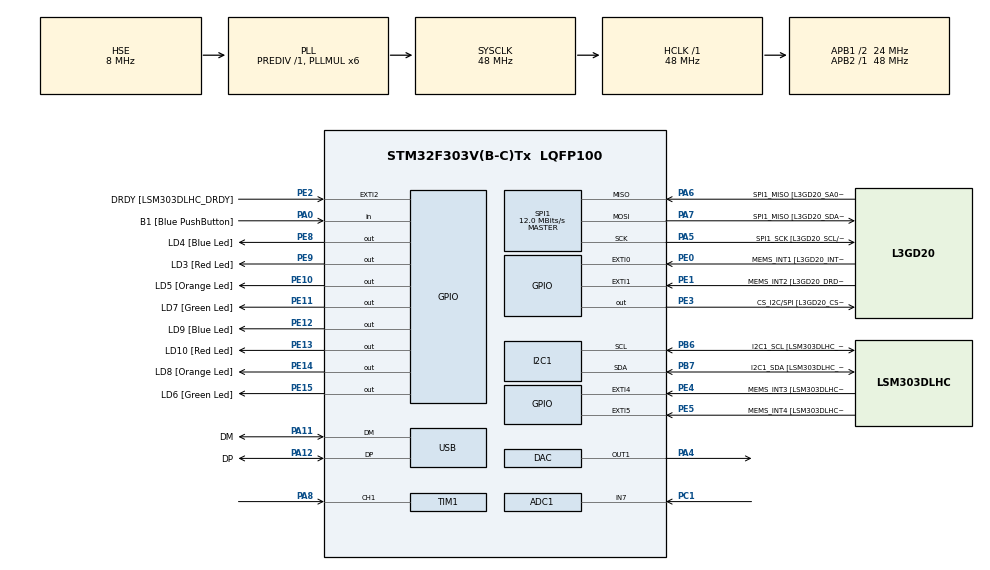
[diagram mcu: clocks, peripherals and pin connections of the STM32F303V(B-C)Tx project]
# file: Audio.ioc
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ADC1.Channel-4\#ChannelRegularConversion=ADC_CHANNEL_7
ADC1.ContinuousConvMode=ENABLE
ADC1.NbrOfConversionFlag=1
ADC1.Offset-4\#ChannelRegularConversion=0
ADC1.OffsetNumber-4\#ChannelRegularConversion=ADC_OFFSET_NONE
ADC1.Rank-4\#ChannelRegularConversion=1
ADC1.SamplingTime-4\#ChannelRegularConversion=ADC_SAMPLETIME_19CYCLES_5
ADC1.master=1
I2C1.Timing-I2C=0x2000090E
Mcu.Family=STM32F3
Mcu.Name=STM32F303V(B-C)Tx
Mcu.Package=LQFP100
NVIC.ADC1_2_IRQn=true\:0\:0\:false\:false\:true\:true\:true
NVIC.PriorityGroup=NVIC_PRIORITYGROUP_0
PA0.GPIO_Label=B1 [Blue PushButton]
PA0.Signal=GPIO_Input
PA11.GPIO_Label=DM
PA11.Mode=Device
PA11.Signal=USB_DM
PA12.GPIO_Label=DP
PA12.Mode=Device
PA12.Signal=USB_DP
PA13.GPIO_Label=SWDIO
PA13.Mode=Serial_Wire
PA13.Signal=SYS_JTMS-SWDIO
PA14.GPIO_Label=SWCLK
PA14.Mode=Serial_Wire
PA14.Signal=SYS_JTCK-SWCLK
PA4.Signal=COMP_DAC1_group
PA5.GPIO_Label=SPI1_SCK [L3GD20_SCL/SPC]
PA5.Mode=Full_Duplex_Master
PA5.Signal=SPI1_SCK
PA6.GPIO_Label=SPI1_MISO [L3GD20_SA0/SDO]
PA6.Mode=Full_Duplex_Master
PA6.Signal=SPI1_MISO
PA7.GPIO_Label=SPI1_MISO [L3GD20_SDA/SDI/SDO]
PA7.Mode=Full_Duplex_Master
PA7.Signal=SPI1_MOSI
PA8.Signal=S_TIM1_CH1
PB3.GPIO_Label=SWO
PB3.Signal=SYS_JTDO-TRACESWO
PB6.GPIO_Label=I2C1_SCL [LSM303DLHC_SCL]
PB6.Mode=I2C
PB6.Signal=I2C1_SCL
PB7.GPIO_Label=I2C1_SDA [LSM303DLHC_SDA]
PB7.Mode=I2C
PB7.Signal=I2C1_SDA
PC1.Signal=ADCx_IN7
PC14-OSC32_IN.GPIO_Label=OSC32_IN
PC14-OSC32_IN.Signal=RCC_OSC32_IN
PC15-OSC32_OUT.GPIO_Label=OSC32_OUT
PC15-OSC32_OUT.Signal=RCC_OSC32_OUT
PE0.GPIO_Label=MEMS_INT1 [L3GD20_INT1]
PE0.GPIO_ModeDefaultEXTI=GPIO_MODE_EVT_RISING
PE0.Signal=GPXTI0
PE1.GPIO_Label=MEMS_INT2 [L3GD20_DRDY/INT2]
PE1.GPIO_ModeDefaultEXTI=GPIO_MODE_EVT_RISING
PE1.Signal=GPXTI1
PE10.GPIO_Label=LD5 [Orange Led]
PE10.Signal=GPIO_Output
PE11.GPIO_Label=LD7 [Green Led]
PE11.Signal=GPIO_Output
PE12.GPIO_Label=LD9 [Blue Led]
PE12.Signal=GPIO_Output
PE13.GPIO_Label=LD10 [Red Led]
PE13.Signal=GPIO_Output
PE14.GPIO_Label=LD8 [Orange Led]
PE14.Signal=GPIO_Output
PE15.GPIO_Label=LD6 [Green Led]
PE15.Signal=GPIO_Output
PE2.GPIO_Label=DRDY [LSM303DLHC_DRDY]
PE2.GPIO_ModeDefaultEXTI=GPIO_MODE_EVT_RISING
PE2.Signal=GPXTI2
PE3.GPIO_Label=CS_I2C/SPI [L3GD20_CS_I2C/SPI]
PE3.Signal=GPIO_Output
PE4.GPIO_Label=MEMS_INT3 [LSM303DLHC_INT1]
PE4.GPIO_ModeDefaultEXTI=GPIO_MODE_EVT_RISING
PE4.Signal=GPXTI4
PE5.GPIO_Label=MEMS_INT4 [LSM303DLHC_INT2]
PE5.GPIO_ModeDefaultEXTI=GPIO_MODE_EVT_RISING
PE5.Signal=GPXTI5
PE8.GPIO_Label=LD4 [Blue Led]
PE8.Signal=GPIO_Output
PE9.GPIO_Label=LD3 [Red Led]
PE9.Signal=GPIO_Output
PF0-OSC_IN.GPIO_Label=OSC_IN
PF0-OSC_IN.Mode=HSE-External-Clock-Source
PF0-OSC_IN.Signal=RCC_OSC_IN
PF1-OSC_OUT.GPIO_Label=OSC_OUT
PF1-OSC_OUT.Signal=RCC_OSC_OUT
ProjectManager.HeapSize=0x200
ProjectManager.StackSize=0x400
ProjectManager.TargetToolchain=MDK-ARM V5
RCC.AHBFreq_Value=48000000
RCC.APB1CLKDivider=RCC_HCLK_DIV2
RCC.APB1Freq_Value=24000000
RCC.APB1TimFreq_Value=48000000
RCC.APB2Freq_Value=48000000
RCC.APB2TimFreq_Value=48000000
RCC.CortexFreq_Value=48000000
RCC.HCLKFreq_Value=48000000
RCC.HSE_VALUE=8000000
RCC.HSI_VALUE=8000000
RCC.LSE_VALUE=32768
RCC.PLLMUL=RCC_PLL_MUL6
RCC.SYSCLKFreq_VALUE=48000000
RCC.SYSCLKSourceVirtual=RCC_SYSCLKSOURCE_PLLCLK
RCC.USBFreq_Value=48000000
SH.ADCx_IN7.0=ADC1_IN7,IN7-Single-Ended
SH.COMP_DAC1_group.0=DAC_OUT1,DAC_OUT1
SH.S_TIM1_CH1.0=TIM1_CH1,Input_Capture1_from_TI1
SPI1.BaudRatePrescaler=SPI_BAUDRATEPRESCALER_4
SPI1.BaudRatePrescaler-Full_Duplex_Master=SPI_BAUDRATEPRESCALER_2
SPI1.CalculateBaudRate=12.0 MBits/s
SPI1.CalculateBaudRate-Full_Duplex_Master=24.0 MBits/s
SPI1.Direction=SPI_DIRECTION_2LINES
SPI1.Mode=SPI_MODE_MASTER
SPI1.Mode-Full_Duplex_Master=SPI_MODE_MASTER
SPI1.VirtualType=VM_MASTER
TIM1.Channel-Input_Capture1_from_TI1=TIM_CHANNEL_1
board=STM32F3DISCOVERY

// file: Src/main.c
/* USER CODE BEGIN Header */
/**
  ******************************************************************************
  * @file           : main.c
  * @brief          : Main program body
  ******************************************************************************
  * @attention
  *
  * <h2><center>&copy; Copyright (c) 2019 STMicroelectronics.
  * All rights reserved.</center></h2>
  *
  * This software component is licensed by ST under BSD 3-Clause license,
  * the "License"; You may not use this file except in compliance with the
  * License. You may obtain a copy of the License at:
  *                        opensource.org/licenses/BSD-3-Clause
  *
  ******************************************************************************
  */
/* USER CODE END Header */

#include "main.h"

ADC_HandleTypeDef hadc1;

DAC_HandleTypeDef hdac;

I2C_HandleTypeDef hi2c1;

SPI_HandleTypeDef hspi1;

TIM_HandleTypeDef htim1;

PCD_HandleTypeDef hpcd_USB_FS;

/* USER CODE BEGIN PV */
uint32_t uhADCxConvertedValue = 0;
uint32_t DacValue = 0;
/* USER CODE END PV */

void SystemClock_Config(void);
static void MX_GPIO_Init(void);
static void MX_I2C1_Init(void);
static void MX_SPI1_Init(void);
static void MX_USB_PCD_Init(void);
static void MX_ADC1_Init(void);
static void MX_TIM1_Init(void);
static void MX_DAC_Init(void);

int main(void)
{

  /* MCU Configuration--------------------------------------------------------*/

  /* Reset of all peripherals, Initializes the Flash interface and the Systick. */
  HAL_Init();

  /* Configure the system clock */
  SystemClock_Config();

  /* Initialize all configured peripherals */
  MX_GPIO_Init();
  MX_I2C1_Init();
  MX_SPI1_Init();
  MX_USB_PCD_Init();
  MX_ADC1_Init();
  MX_TIM1_Init();
  MX_DAC_Init();
  /* USER CODE BEGIN 2 */

	/* Run the ADC calibration in single-ended mode */
  if (HAL_ADCEx_Calibration_Start(&hadc1, ADC_SINGLE_ENDED) != HAL_OK)
  {
    /* Calibration Error */
    Error_Handler();
  }

  /*##-4- Start the conversion process and enable interrupt ##################*/

  if (HAL_ADC_Start_IT(&hadc1) != HAL_OK)
  {
    /* Start Conversation Error */
    Error_Handler();
  }
	if (HAL_DAC_Start_DMA(&hdac,DAC_CHANNEL_1,(uint32_t*)uhADCxConvertedValue,32,DAC_ALIGN_12B_R) != HAL_OK)
  {
    /* Start Conversation Error */
    Error_Handler();
  }

	/*##-3- TIM counter enable ################################################*/
  if (HAL_TIM_Base_Start(&htim1) != HAL_OK)
  {
    /* Counter Enable Error */
    Error_Handler();
  }

  /* USER CODE END 2 */

  /* Infinite loop */
  while (1)
  {

  }
}

void SystemClock_Config(void)
{
  RCC_OscInitTypeDef RCC_OscInitStruct = {0};
  RCC_ClkInitTypeDef RCC_ClkInitStruct = {0};
  RCC_PeriphCLKInitTypeDef PeriphClkInit = {0};

  /** Initializes the CPU, AHB and APB busses clocks
  */
  RCC_OscInitStruct.OscillatorType = RCC_OSCILLATORTYPE_HSI|RCC_OSCILLATORTYPE_HSE;
  RCC_OscInitStruct.HSEState = RCC_HSE_BYPASS;
  RCC_OscInitStruct.HSEPredivValue = RCC_HSE_PREDIV_DIV1;
  RCC_OscInitStruct.HSIState = RCC_HSI_ON;
  RCC_OscInitStruct.HSICalibrationValue = RCC_HSICALIBRATION_DEFAULT;
  RCC_OscInitStruct.PLL.PLLState = RCC_PLL_ON;
  RCC_OscInitStruct.PLL.PLLSource = RCC_PLLSOURCE_HSE;
  RCC_OscInitStruct.PLL.PLLMUL = RCC_PLL_MUL6;
  if (HAL_RCC_OscConfig(&RCC_OscInitStruct) != HAL_OK)
  {
    Error_Handler();
  }
  /** Initializes the CPU, AHB and APB busses clocks
  */
  RCC_ClkInitStruct.ClockType = RCC_CLOCKTYPE_HCLK|RCC_CLOCKTYPE_SYSCLK
                              |RCC_CLOCKTYPE_PCLK1|RCC_CLOCKTYPE_PCLK2;
  RCC_ClkInitStruct.SYSCLKSource = RCC_SYSCLKSOURCE_PLLCLK;
  RCC_ClkInitStruct.AHBCLKDivider = RCC_SYSCLK_DIV1;
  RCC_ClkInitStruct.APB1CLKDivider = RCC_HCLK_DIV2;
  RCC_ClkInitStruct.APB2CLKDivider = RCC_HCLK_DIV1;

  if (HAL_RCC_ClockConfig(&RCC_ClkInitStruct, FLASH_LATENCY_1) != HAL_OK)
  {
    Error_Handler();
  }
  PeriphClkInit.PeriphClockSelection = RCC_PERIPHCLK_USB|RCC_PERIPHCLK_I2C1
                              |RCC_PERIPHCLK_TIM1|RCC_PERIPHCLK_ADC12;
  PeriphClkInit.Adc12ClockSelection = RCC_ADC12PLLCLK_DIV1;
  PeriphClkInit.I2c1ClockSelection = RCC_I2C1CLKSOURCE_HSI;
  PeriphClkInit.USBClockSelection = RCC_USBCLKSOURCE_PLL;
  PeriphClkInit.Tim1ClockSelection = RCC_TIM1CLK_HCLK;
  if (HAL_RCCEx_PeriphCLKConfig(&PeriphClkInit) != HAL_OK)
  {
    Error_Handler();
  }
}

static void MX_ADC1_Init(void)
{

  ADC_MultiModeTypeDef multimode = {0};
  ADC_ChannelConfTypeDef sConfig = {0};

  /** Common config
  */
  hadc1.Instance = ADC1;
  hadc1.Init.ClockPrescaler = ADC_CLOCK_ASYNC_DIV1;
  hadc1.Init.Resolution = ADC_RESOLUTION_12B;
  hadc1.Init.ScanConvMode = ADC_SCAN_DISABLE;
  hadc1.Init.ContinuousConvMode = ENABLE;
  hadc1.Init.DiscontinuousConvMode = DISABLE;
  hadc1.Init.ExternalTrigConvEdge = ADC_EXTERNALTRIGCONVEDGE_NONE;
  hadc1.Init.ExternalTrigConv = ADC_SOFTWARE_START;
  hadc1.Init.DataAlign = ADC_DATAALIGN_RIGHT;
  hadc1.Init.NbrOfConversion = 1;
  hadc1.Init.DMAContinuousRequests = DISABLE;
  hadc1.Init.EOCSelection = ADC_EOC_SINGLE_CONV;
  hadc1.Init.LowPowerAutoWait = DISABLE;
  hadc1.Init.Overrun = ADC_OVR_DATA_OVERWRITTEN;
  if (HAL_ADC_Init(&hadc1) != HAL_OK)
  {
    Error_Handler();
  }
  /** Configure the ADC multi-mode
  */
  multimode.Mode = ADC_MODE_INDEPENDENT;
  if (HAL_ADCEx_MultiModeConfigChannel(&hadc1, &multimode) != HAL_OK)
  {
    Error_Handler();
  }
  /** Configure Regular Channel
  */
  sConfig.Channel = ADC_CHANNEL_7;
  sConfig.Rank = ADC_REGULAR_RANK_1;
  sConfig.SingleDiff = ADC_SINGLE_ENDED;
  sConfig.SamplingTime = ADC_SAMPLETIME_19CYCLES_5;
  sConfig.OffsetNumber = ADC_OFFSET_NONE;
  sConfig.Offset = 0;
  if (HAL_ADC_ConfigChannel(&hadc1, &sConfig) != HAL_OK)
  {
    Error_Handler();
  }

}

static void MX_DAC_Init(void)
{

  DAC_ChannelConfTypeDef sConfig = {0};

  /** DAC Initialization
  */
  hdac.Instance = DAC;
  if (HAL_DAC_Init(&hdac) != HAL_OK)
  {
    Error_Handler();
  }
  /** DAC channel OUT1 config
  */
  sConfig.DAC_Trigger = DAC_TRIGGER_NONE;
  sConfig.DAC_OutputBuffer = DAC_OUTPUTBUFFER_ENABLE;
  if (HAL_DAC_ConfigChannel(&hdac, &sConfig, DAC_CHANNEL_1) != HAL_OK)
  {
    Error_Handler();
  }
  /* USER CODE BEGIN DAC_Init 2 */
	if (HAL_DAC_SetValue(&hdac, DAC_CHANNEL_1, DAC_ALIGN_12B_R,uhADCxConvertedValue) != HAL_OK)
  {
    Error_Handler();
  }
  /* USER CODE END DAC_Init 2 */

}

static void MX_I2C1_Init(void)
{

  hi2c1.Instance = I2C1;
  hi2c1.Init.Timing = 0x2000090E;
  hi2c1.Init.OwnAddress1 = 0;
  hi2c1.Init.AddressingMode = I2C_ADDRESSINGMODE_7BIT;
  hi2c1.Init.DualAddressMode = I2C_DUALADDRESS_DISABLE;
  hi2c1.Init.OwnAddress2 = 0;
  hi2c1.Init.OwnAddress2Masks = I2C_OA2_NOMASK;
  hi2c1.Init.GeneralCallMode = I2C_GENERALCALL_DISABLE;
  hi2c1.Init.NoStretchMode = I2C_NOSTRETCH_DISABLE;
  if (HAL_I2C_Init(&hi2c1) != HAL_OK)
  {
    Error_Handler();
  }
  /** Configure Analogue filter
  */
  if (HAL_I2CEx_ConfigAnalogFilter(&hi2c1, I2C_ANALOGFILTER_ENABLE) != HAL_OK)
  {
    Error_Handler();
  }
  /** Configure Digital filter
  */
  if (HAL_I2CEx_ConfigDigitalFilter(&hi2c1, 0) != HAL_OK)
  {
    Error_Handler();
  }

}

static void MX_SPI1_Init(void)
{

  /* SPI1 parameter configuration*/
  hspi1.Instance = SPI1;
  hspi1.Init.Mode = SPI_MODE_MASTER;
  hspi1.Init.Direction = SPI_DIRECTION_2LINES;
  hspi1.Init.DataSize = SPI_DATASIZE_4BIT;
  hspi1.Init.CLKPolarity = SPI_POLARITY_LOW;
  hspi1.Init.CLKPhase = SPI_PHASE_1EDGE;
  hspi1.Init.NSS = SPI_NSS_SOFT;
  hspi1.Init.BaudRatePrescaler = SPI_BAUDRATEPRESCALER_4;
  hspi1.Init.FirstBit = SPI_FIRSTBIT_MSB;
  hspi1.Init.TIMode = SPI_TIMODE_DISABLE;
  hspi1.Init.CRCCalculation = SPI_CRCCALCULATION_DISABLE;
  hspi1.Init.CRCPolynomial = 7;
  hspi1.Init.CRCLength = SPI_CRC_LENGTH_DATASIZE;
  hspi1.Init.NSSPMode = SPI_NSS_PULSE_ENABLE;
  if (HAL_SPI_Init(&hspi1) != HAL_OK)
  {
    Error_Handler();
  }

}

static void MX_TIM1_Init(void)
{

  TIM_MasterConfigTypeDef sMasterConfig = {0};
  TIM_IC_InitTypeDef sConfigIC = {0};

  htim1.Instance = TIM1;
  htim1.Init.Prescaler = 0;
  htim1.Init.CounterMode = TIM_COUNTERMODE_UP;
  htim1.Init.Period = 0;
  htim1.Init.ClockDivision = TIM_CLOCKDIVISION_DIV1;
  htim1.Init.RepetitionCounter = 0;
  htim1.Init.AutoReloadPreload = TIM_AUTORELOAD_PRELOAD_DISABLE;
  if (HAL_TIM_IC_Init(&htim1) != HAL_OK)
  {
    Error_Handler();
  }
  sMasterConfig.MasterOutputTrigger = TIM_TRGO_RESET;
  sMasterConfig.MasterOutputTrigger2 = TIM_TRGO2_RESET;
  sMasterConfig.MasterSlaveMode = TIM_MASTERSLAVEMODE_DISABLE;
  if (HAL_TIMEx_MasterConfigSynchronization(&htim1, &sMasterConfig) != HAL_OK)
  {
    Error_Handler();
  }
  sConfigIC.ICPolarity = TIM_INPUTCHANNELPOLARITY_RISING;
  sConfigIC.ICSelection = TIM_ICSELECTION_DIRECTTI;
  sConfigIC.ICPrescaler = TIM_ICPSC_DIV1;
  sConfigIC.ICFilter = 0;
  if (HAL_TIM_IC_ConfigChannel(&htim1, &sConfigIC, TIM_CHANNEL_1) != HAL_OK)
  {
    Error_Handler();
  }

}

static void MX_USB_PCD_Init(void)
{

  hpcd_USB_FS.Instance = USB;
  hpcd_USB_FS.Init.dev_endpoints = 8;
  hpcd_USB_FS.Init.speed = PCD_SPEED_FULL;
  hpcd_USB_FS.Init.phy_itface = PCD_PHY_EMBEDDED;
  hpcd_USB_FS.Init.low_power_enable = DISABLE;
  hpcd_USB_FS.Init.battery_charging_enable = DISABLE;
  if (HAL_PCD_Init(&hpcd_USB_FS) != HAL_OK)
  {
    Error_Handler();
  }

}

static void MX_GPIO_Init(void)
{
  GPIO_InitTypeDef GPIO_InitStruct = {0};

  /* GPIO Ports Clock Enable */
  __HAL_RCC_GPIOE_CLK_ENABLE();
  __HAL_RCC_GPIOC_CLK_ENABLE();
  __HAL_RCC_GPIOF_CLK_ENABLE();
  __HAL_RCC_GPIOA_CLK_ENABLE();
  __HAL_RCC_GPIOB_CLK_ENABLE();

  /*Configure GPIO pin Output Level */
  HAL_GPIO_WritePin(GPIOE, CS_I2C_SPI_Pin|LD4_Pin|LD3_Pin|LD5_Pin
                          |LD7_Pin|LD9_Pin|LD10_Pin|LD8_Pin
                          |LD6_Pin, GPIO_PIN_RESET);

  /*Configure GPIO pins : DRDY_Pin MEMS_INT3_Pin MEMS_INT4_Pin MEMS_INT1_Pin
                           MEMS_INT2_Pin */
  GPIO_InitStruct.Pin = DRDY_Pin|MEMS_INT3_Pin|MEMS_INT4_Pin|MEMS_INT1_Pin
                          |MEMS_INT2_Pin;
  GPIO_InitStruct.Mode = GPIO_MODE_EVT_RISING;
  GPIO_InitStruct.Pull = GPIO_NOPULL;
  HAL_GPIO_Init(GPIOE, &GPIO_InitStruct);

  /*Configure GPIO pins : CS_I2C_SPI_Pin LD4_Pin LD3_Pin LD5_Pin
                           LD7_Pin LD9_Pin LD10_Pin LD8_Pin
                           LD6_Pin */
  GPIO_InitStruct.Pin = CS_I2C_SPI_Pin|LD4_Pin|LD3_Pin|LD5_Pin
                          |LD7_Pin|LD9_Pin|LD10_Pin|LD8_Pin
                          |LD6_Pin;
  GPIO_InitStruct.Mode = GPIO_MODE_OUTPUT_PP;
  GPIO_InitStruct.Pull = GPIO_NOPULL;
  GPIO_InitStruct.Speed = GPIO_SPEED_FREQ_LOW;
  HAL_GPIO_Init(GPIOE, &GPIO_InitStruct);

  /*Configure GPIO pin : B1_Pin */
  GPIO_InitStruct.Pin = B1_Pin;
  GPIO_InitStruct.Mode = GPIO_MODE_INPUT;
  GPIO_InitStruct.Pull = GPIO_NOPULL;
  HAL_GPIO_Init(B1_GPIO_Port, &GPIO_InitStruct);

}

/* USER CODE BEGIN 4 */
void HAL_ADC_ConvCpltCallback(ADC_HandleTypeDef *AdcHandle)
{
  /* Get the converted value of regular channel */
  uhADCxConvertedValue = HAL_ADC_GetValue(AdcHandle);
}

void HAL_DAC_ConvCpltCallbackCh1(DAC_HandleTypeDef * hdac) {
	DacValue=HAL_DAC_GetValue(hdac,DAC_CHANNEL_1);
}

/* USER CODE END 4 */

void Error_Handler(void)
{
}

/************************ (C) COPYRIGHT STMicroelectronics *****END OF FILE****/
